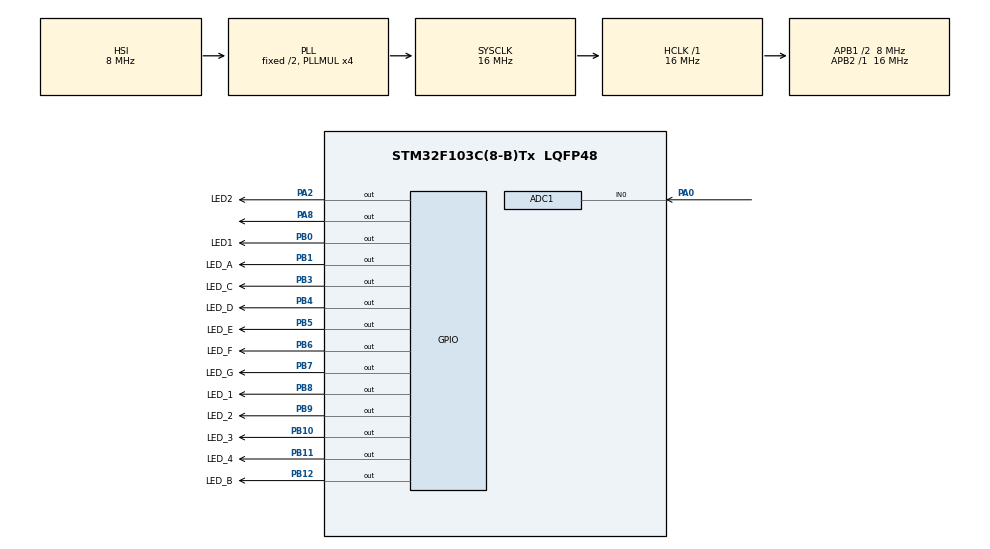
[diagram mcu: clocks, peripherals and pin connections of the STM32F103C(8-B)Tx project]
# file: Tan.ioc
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ADC1.Channel-1\#ChannelRegularConversion=ADC_CHANNEL_0
ADC1.NbrOfConversionFlag=1
ADC1.Rank-1\#ChannelRegularConversion=1
ADC1.SamplingTime-1\#ChannelRegularConversion=ADC_SAMPLETIME_1CYCLE_5
ADC1.master=1
Mcu.Family=STM32F1
Mcu.Name=STM32F103C(8-B)Tx
Mcu.Package=LQFP48
NVIC.PriorityGroup=NVIC_PRIORITYGROUP_4
PA0-WKUP.Signal=ADCx_IN0
PA13.Mode=Serial_Wire
PA13.Signal=SYS_JTMS-SWDIO
PA14.Mode=Serial_Wire
PA14.Signal=SYS_JTCK-SWCLK
PA2.GPIO_Label=LED2
PA2.Signal=GPIO_Output
PA8.Signal=GPIO_Output
PB0.GPIO_Label=LED1
PB0.Signal=GPIO_Output
PB1.GPIO_Label=LED_A
PB1.Signal=GPIO_Output
PB10.GPIO_Label=LED_3
PB10.Signal=GPIO_Output
PB11.GPIO_Label=LED_4
PB11.Signal=GPIO_Output
PB12.GPIO_Label=LED_B
PB12.Signal=GPIO_Output
PB3.GPIO_Label=LED_C
PB3.Signal=GPIO_Output
PB4.GPIO_Label=LED_D
PB4.Signal=GPIO_Output
PB5.GPIO_Label=LED_E
PB5.Signal=GPIO_Output
PB6.GPIO_Label=LED_F
PB6.Signal=GPIO_Output
PB7.GPIO_Label=LED_G
PB7.Signal=GPIO_Output
PB8.GPIO_Label=LED_1
PB8.Signal=GPIO_Output
PB9.GPIO_Label=LED_2
PB9.Signal=GPIO_Output
ProjectManager.HeapSize=0x200
ProjectManager.StackSize=0x400
ProjectManager.TargetToolchain=MDK-ARM V5.32
RCC.AHBFreq_Value=16000000
RCC.APB1CLKDivider=RCC_HCLK_DIV2
RCC.APB1Freq_Value=8000000
RCC.APB1TimFreq_Value=16000000
RCC.APB2Freq_Value=16000000
RCC.APB2TimFreq_Value=16000000
RCC.HCLKFreq_Value=16000000
RCC.PLLMUL=RCC_PLL_MUL4
RCC.SYSCLKFreq_VALUE=16000000
RCC.SYSCLKSource=RCC_SYSCLKSOURCE_PLLCLK
RCC.USBFreq_Value=16000000
SH.ADCx_IN0.0=ADC1_IN0,IN0
board=custom

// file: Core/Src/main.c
/* USER CODE BEGIN Header */
/**
  ******************************************************************************
  * @file           : main.c
  * @brief          : Main program body
  ******************************************************************************
  * @attention
  *
  * Copyright (c) 2023 STMicroelectronics.
  * All rights reserved.
  *
  * This software is licensed under terms that can be found in the LICENSE file
  * in the root directory of this software component.
  * If no LICENSE file comes with this software, it is provided AS-IS.
  *
  ******************************************************************************
  */
/* USER CODE END Header */
#include "main.h"

/* USER CODE BEGIN Includes */
#include "math.h"
#define B   3950.0
#define ANALOG_MAX 2800.0
/* USER CODE END Includes */

ADC_HandleTypeDef hadc1;

/* USER CODE BEGIN PV */
uint8_t code[10] = {0xC0, 0xF9, 0xA4, 0xB0, 0x99, 0x92, 0x82, 0xF8, 0x80, 0x90};
uint16_t count = 1000;
uint16_t adc_value;
float alpha = 0;
uint32_t T = 0;
/* USER CODE END PV */
void SystemClock_Config(void);
static void MX_GPIO_Init(void);
static void MX_ADC1_Init(void);
/* USER CODE BEGIN PFP */
/**
 * Hàm phụ trách hiển thị từng số
 */
void Number_Display(uint8_t number);
/**
 * hàm hiển thị cả số
 */
void Display(uint16_t number);
/**
 * Hàm để delay có quét led
 */
void delay_500ms(uint16_t number);
/* USER CODE END PFP */

int main(void)
{

  HAL_Init();
  SystemClock_Config();
  MX_GPIO_Init();
  MX_ADC1_Init();
  while (1)
  {
	  /*bat ADC*/
	  HAL_ADC_Start(&hadc1);

	  /*đ�?c adc*/
	  adc_value = HAL_ADC_GetValue(&hadc1);

	  /*tinh toán */
	  float ts = (float)((ANALOG_MAX/adc_value) - 1);
	  float b = (float)log(ts)/log(2.71828);
	  T = 1.0/((float)(b/3950) + (float)1.0/298.15) - 273.15;

	  if(T > 37)
	  {
		  HAL_GPIO_WritePin(LED2_GPIO_Port, LED2_Pin, 1);
		  HAL_GPIO_WritePin(LED1_GPIO_Port, LED1_Pin, 1);
	  }
	  else if( (T > 21) && (T <= 37))
	  {
		  HAL_GPIO_WritePin(LED2_GPIO_Port, LED2_Pin, 1);
		  HAL_GPIO_WritePin(LED1_GPIO_Port, LED1_Pin, 0);
	  }
	  else if(T <= 21)
	  {
		  HAL_GPIO_WritePin(LED2_GPIO_Port, LED2_Pin, 0);
		  HAL_GPIO_WritePin(LED1_GPIO_Port, LED1_Pin, 0);
	  }
	  /*hiển thị nhiệt độ*/
	  Display(T);
	  /*dừng adc*/
	  HAL_ADC_Stop(&hadc1);
	  /*delay 500 ms*/
	  delay_500ms(T);
  }
}

void SystemClock_Config(void)
{
  RCC_OscInitTypeDef RCC_OscInitStruct = {0};
  RCC_ClkInitTypeDef RCC_ClkInitStruct = {0};
  RCC_PeriphCLKInitTypeDef PeriphClkInit = {0};

  /** Initializes the RCC Oscillators according to the specified parameters
  * in the RCC_OscInitTypeDef structure.
  */
  RCC_OscInitStruct.OscillatorType = RCC_OSCILLATORTYPE_HSI;
  RCC_OscInitStruct.HSIState = RCC_HSI_ON;
  RCC_OscInitStruct.HSICalibrationValue = RCC_HSICALIBRATION_DEFAULT;
  RCC_OscInitStruct.PLL.PLLState = RCC_PLL_ON;
  RCC_OscInitStruct.PLL.PLLSource = RCC_PLLSOURCE_HSI_DIV2;
  RCC_OscInitStruct.PLL.PLLMUL = RCC_PLL_MUL4;
  if (HAL_RCC_OscConfig(&RCC_OscInitStruct) != HAL_OK)
  {
    Error_Handler();
  }

  /** Initializes the CPU, AHB and APB buses clocks
  */
  RCC_ClkInitStruct.ClockType = RCC_CLOCKTYPE_HCLK|RCC_CLOCKTYPE_SYSCLK
                              |RCC_CLOCKTYPE_PCLK1|RCC_CLOCKTYPE_PCLK2;
  RCC_ClkInitStruct.SYSCLKSource = RCC_SYSCLKSOURCE_PLLCLK;
  RCC_ClkInitStruct.AHBCLKDivider = RCC_SYSCLK_DIV1;
  RCC_ClkInitStruct.APB1CLKDivider = RCC_HCLK_DIV2;
  RCC_ClkInitStruct.APB2CLKDivider = RCC_HCLK_DIV1;

  if (HAL_RCC_ClockConfig(&RCC_ClkInitStruct, FLASH_LATENCY_0) != HAL_OK)
  {
    Error_Handler();
  }
  PeriphClkInit.PeriphClockSelection = RCC_PERIPHCLK_ADC;
  PeriphClkInit.AdcClockSelection = RCC_ADCPCLK2_DIV2;
  if (HAL_RCCEx_PeriphCLKConfig(&PeriphClkInit) != HAL_OK)
  {
    Error_Handler();
  }
}

static void MX_ADC1_Init(void)
{

  ADC_ChannelConfTypeDef sConfig = {0};

  /** Common config
  */
  hadc1.Instance = ADC1;
  hadc1.Init.ScanConvMode = ADC_SCAN_DISABLE;
  hadc1.Init.ContinuousConvMode = DISABLE;
  hadc1.Init.DiscontinuousConvMode = DISABLE;
  hadc1.Init.ExternalTrigConv = ADC_SOFTWARE_START;
  hadc1.Init.DataAlign = ADC_DATAALIGN_RIGHT;
  hadc1.Init.NbrOfConversion = 1;
  if (HAL_ADC_Init(&hadc1) != HAL_OK)
  {
    Error_Handler();
  }

  /** Configure Regular Channel
  */
  sConfig.Channel = ADC_CHANNEL_0;
  sConfig.Rank = ADC_REGULAR_RANK_1;
  sConfig.SamplingTime = ADC_SAMPLETIME_1CYCLE_5;
  if (HAL_ADC_ConfigChannel(&hadc1, &sConfig) != HAL_OK)
  {
    Error_Handler();
  }

}

static void MX_GPIO_Init(void)
{
  GPIO_InitTypeDef GPIO_InitStruct = {0};

  /* GPIO Ports Clock Enable */
  __HAL_RCC_GPIOA_CLK_ENABLE();
  __HAL_RCC_GPIOB_CLK_ENABLE();

  /*Configure GPIO pin Output Level */
  HAL_GPIO_WritePin(GPIOA, LED2_Pin|GPIO_PIN_8, GPIO_PIN_RESET);

  /*Configure GPIO pin Output Level */
  HAL_GPIO_WritePin(GPIOB, LED1_Pin|LED_A_Pin|LED_3_Pin|LED_4_Pin
                          |LED_B_Pin|LED_C_Pin|LED_D_Pin|LED_E_Pin
                          |LED_F_Pin|LED_G_Pin|LED_1_Pin|LED_2_Pin, GPIO_PIN_RESET);

  /*Configure GPIO pins : LED2_Pin PA8 */
  GPIO_InitStruct.Pin = LED2_Pin|GPIO_PIN_8;
  GPIO_InitStruct.Mode = GPIO_MODE_OUTPUT_PP;
  GPIO_InitStruct.Pull = GPIO_NOPULL;
  GPIO_InitStruct.Speed = GPIO_SPEED_FREQ_LOW;
  HAL_GPIO_Init(GPIOA, &GPIO_InitStruct);

  /*Configure GPIO pins : LED1_Pin LED_A_Pin LED_3_Pin LED_4_Pin
                           LED_B_Pin LED_C_Pin LED_D_Pin LED_E_Pin
                           LED_F_Pin LED_G_Pin LED_1_Pin LED_2_Pin */
  GPIO_InitStruct.Pin = LED1_Pin|LED_A_Pin|LED_3_Pin|LED_4_Pin
                          |LED_B_Pin|LED_C_Pin|LED_D_Pin|LED_E_Pin
                          |LED_F_Pin|LED_G_Pin|LED_1_Pin|LED_2_Pin;
  GPIO_InitStruct.Mode = GPIO_MODE_OUTPUT_PP;
  GPIO_InitStruct.Pull = GPIO_NOPULL;
  GPIO_InitStruct.Speed = GPIO_SPEED_FREQ_LOW;
  HAL_GPIO_Init(GPIOB, &GPIO_InitStruct);

}

/* USER CODE BEGIN 4 */
void Number_Display(uint8_t number)
{
	HAL_GPIO_WritePin(LED_A_GPIO_Port, LED_A_Pin, 1 & (code[number] >> 0));
	HAL_GPIO_WritePin(LED_B_GPIO_Port, LED_B_Pin, 1 & (code[number] >> 1));
	HAL_GPIO_WritePin(LED_C_GPIO_Port, LED_C_Pin, 1 & (code[number] >> 2));
	HAL_GPIO_WritePin(LED_D_GPIO_Port, LED_D_Pin, 1 & (code[number] >> 3));
	HAL_GPIO_WritePin(LED_E_GPIO_Port, LED_E_Pin, 1 & (code[number] >> 4));
	HAL_GPIO_WritePin(LED_F_GPIO_Port, LED_F_Pin, 1 & (code[number] >> 5));
	HAL_GPIO_WritePin(LED_G_GPIO_Port, LED_G_Pin, 1 & (code[number] >> 6));
}
/// display number

void Display(uint16_t number)
{
	Number_Display(number/1000);
	HAL_GPIO_WritePin(LED_1_GPIO_Port, LED_1_Pin, 1);
	HAL_Delay(2);
	HAL_GPIO_WritePin(LED_1_GPIO_Port, LED_1_Pin, 0);

	Number_Display((number%1000)/100);
	HAL_GPIO_WritePin(LED_2_GPIO_Port, LED_2_Pin, 1);
	HAL_Delay(2);
	HAL_GPIO_WritePin(LED_2_GPIO_Port, LED_2_Pin, 0);

	Number_Display((number%100)/10);
	HAL_GPIO_WritePin(LED_3_GPIO_Port, LED_3_Pin, 1);
	HAL_Delay(2);
	HAL_GPIO_WritePin(LED_3_GPIO_Port, LED_3_Pin, 0);

	Number_Display(number%10);
	HAL_GPIO_WritePin(LED_4_GPIO_Port, LED_4_Pin, 1);
	HAL_Delay(2);
	HAL_GPIO_WritePin(LED_4_GPIO_Port, LED_4_Pin, 0);
}

void delay_500ms(uint16_t number)
{
		for(int i = 0; i < 50; i++)
		{
			Display(number);
		}
}
/* USER CODE END 4 */

void Error_Handler(void)
{
  __disable_irq();
  while (1)
  {
  }
}
